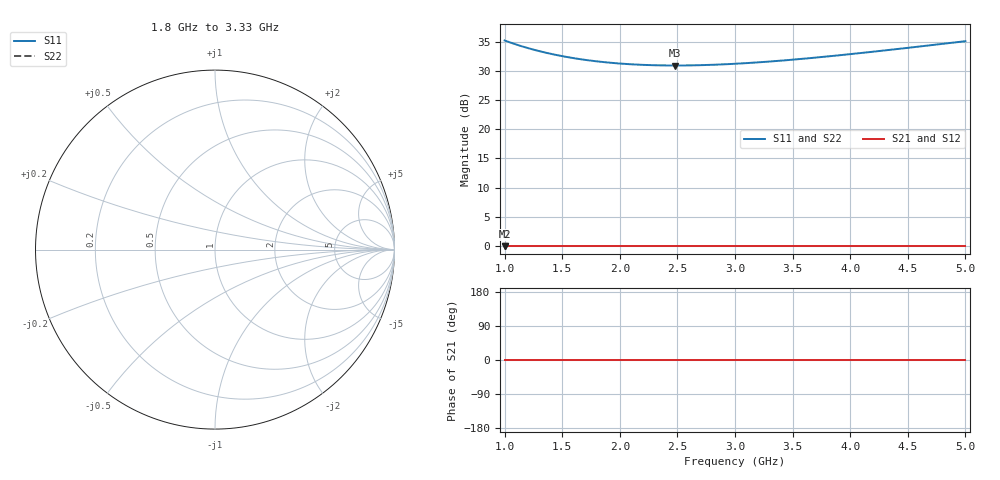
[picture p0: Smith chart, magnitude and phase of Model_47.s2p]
# GHZ S RI R 50
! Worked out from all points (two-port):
!   401 points, 1 GHz to 5 GHz, reference 50 ohm
!   highest |S21| = 0.00 dB at 1 GHz (marker M1); lowest = 0.0 dB at 1 GHz (marker M2)
!   |S21| within 3 dB of the highest: start of sweep to end of sweep
!   lowest |S11| = 30.9 dB at 2.48 GHz (marker M3)
!   |S11| at or under -10 dB: nowhere
!   |S22| runs from 30.9 to 35.2 dB; largest |S21 - S12| = 0
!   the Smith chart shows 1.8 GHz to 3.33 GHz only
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1  57.44 0  1 0  1 0  57.44 0
1.02  56.48 0  1 0  1 0  56.48 0
1.15  51.18 0  1 0  1 0  51.18 0
1.22  48.86 0  1 0  1 0  48.86 0
1.3  46.57 0  1 0  1 0  46.57 0
1.38  44.61 0  1 0  1 0  44.61 0
1.47  42.73 0  1 0  1 0  42.73 0
1.57  40.99 0  1 0  1 0  40.99 0
1.67  39.55 0  1 0  1 0  39.55 0
1.82  37.87 0  1 0  1 0  37.87 0
1.98  36.59 0  1 0  1 0  36.59 0
2.15  35.7 0  1 0  1 0  35.7 0
2.34  35.18 0  1 0  1 0  35.18 0
2.48  35.07 0  1 0  1 0  35.07 0
2.73  35.37 0  1 0  1 0  35.37 0
3  36.28 0  1 0  1 0  36.28 0
3.33  38.12 0  1 0  1 0  38.12 0
3.67  40.72 0  1 0  1 0  40.72 0
4  43.86 0  1 0  1 0  43.86 0
4.34  47.67 0  1 0  1 0  47.67 0
4.64  51.49 0  1 0  1 0  51.49 0
5  56.59 0  1 0  1 0  56.59 0
